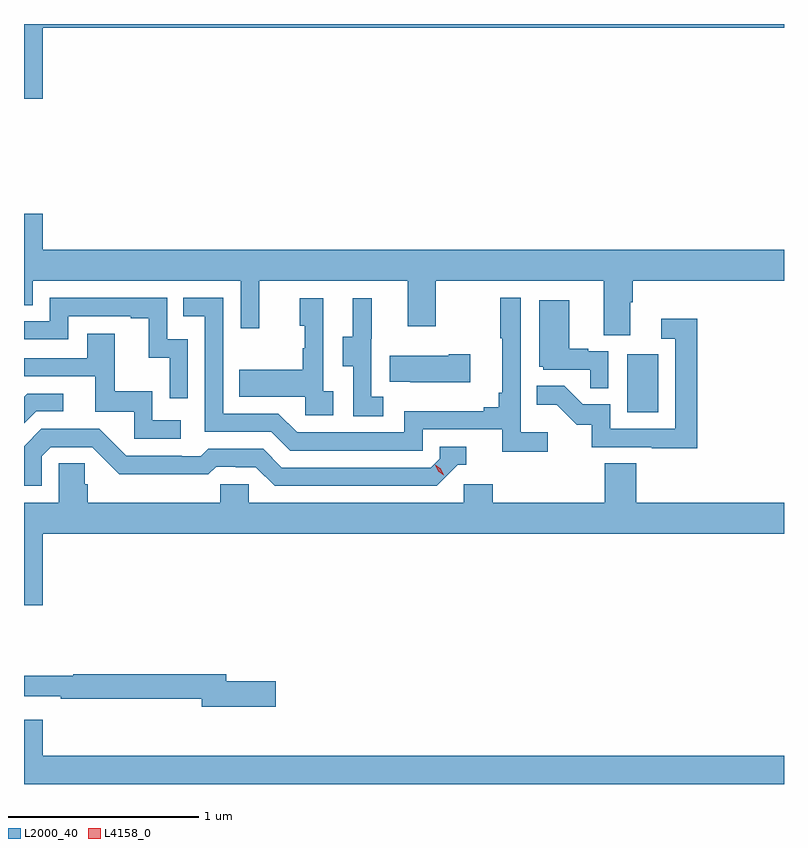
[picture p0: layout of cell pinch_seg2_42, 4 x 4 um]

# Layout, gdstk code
import gdstk
lib = gdstk.Library(unit=1e-6, precision=1e-09)
def R(c, l, rs):  # rectangles x0, y0, x1, y1
    for r in rs: c.add(gdstk.rectangle(r[:2], r[2:], *l))
def P(c, l, *ps):  # polygons
    for p in ps: c.add(gdstk.Polygon(p, *l))
L2000_40 = (2000, 40)
L4158_0 = (4158, 0)

pinch_seg2_42 = lib.new_cell('pinch_seg2_42')
R(pinch_seg2_42, L2000_40, [(1139.276,650.94,1139.44,651.247)])
P(pinch_seg2_42, L2000_40, [(1136.2,652.964),(1140.102,652.964),(1140.102,652.984),(1136.102,652.984),(1136.102,652.59),(1136.2,652.59)],
  [(1139.293,651.52),(1139.306,651.52),(1139.306,651.632),(1140.102,651.632),(1140.102,651.796),(1136.2,651.796),(1136.2,651.985),(1136.102,651.985),(1136.102,651.505),(1136.148,651.505),(1136.148,651.632),(1137.243,651.632),(1137.243,651.384),(1137.341,651.384),(1137.341,651.632),(1138.121,651.632),(1138.121,651.393),(1138.269,651.393),(1138.269,651.632),(1139.153,651.632),(1139.153,651.346),(1139.293,651.346)],
  [(1138.858,650.836),(1138.716,650.836),(1138.716,651.544),(1138.608,651.544),(1138.608,651.331),(1138.619,651.331),(1138.619,651.043),(1138.6,651.043),(1138.6,650.966),(1138.523,650.966),(1138.523,650.947),(1138.104,650.947),(1138.104,650.835),(1137.54,650.835),(1137.441,650.934),(1137.15,650.934),(1137.15,651.543),(1136.941,651.543),(1136.941,651.447),(1137.054,651.447),(1137.054,650.838),(1137.404,650.838),(1137.503,650.739),(1138.2,650.739),(1138.2,650.85),(1138.619,650.85),(1138.619,650.734),(1138.858,650.734)],
  [(1136.964,651.324),(1136.856,651.324),(1136.856,651.543),(1136.238,651.543),(1136.238,651.42),(1136.102,651.42),(1136.102,651.324),(1136.334,651.324),(1136.334,651.447),(1136.663,651.447),(1136.663,651.435),(1136.759,651.435),(1136.759,651.227),(1136.868,651.227),(1136.868,651.015),(1136.964,651.015)],
  [(1137.994,651.023),(1137.93,651.023),(1137.93,651.327),(1137.932,651.327),(1137.932,651.541),(1137.833,651.541),(1137.833,651.339),(1137.779,651.339),(1137.779,651.184),(1137.834,651.184),(1137.834,650.92),(1137.994,650.92)],
  [(1137.73,651.05),(1137.678,651.05),(1137.678,651.541),(1137.554,651.541),(1137.554,651.396),(1137.58,651.396),(1137.58,651.278),(1137.57,651.278),(1137.57,651.163),(1137.235,651.163),(1137.235,651.023),(1137.582,651.023),(1137.582,650.925),(1137.73,650.925)],
  [(1139.178,651.261),(1139.072,651.261),(1139.072,651.274),(1138.972,651.274),(1138.972,651.529),(1138.814,651.529),(1138.814,651.18),(1138.836,651.18),(1138.836,651.165),(1139.083,651.165),(1139.083,651.067),(1139.178,651.067)],
  [(1139.645,651.433),(1139.457,651.433),(1139.457,651.327),(1139.529,651.327),(1139.529,650.853),(1139.187,650.853),(1139.187,650.982),(1139.043,650.982),(1138.945,651.08),(1138.801,651.08),(1138.801,650.981),(1138.905,650.981),(1139.012,650.874),(1139.089,650.874),(1139.089,650.757),(1139.407,650.757),(1139.407,650.752),(1139.645,650.752)],
  [(1136.926,650.898),(1136.778,650.898),(1136.778,651.052),(1136.579,651.052),(1136.579,651.355),(1136.435,651.355),(1136.435,651.225),(1136.102,651.225),(1136.102,651.129),(1136.477,651.129),(1136.477,650.943),(1136.682,650.943),(1136.682,650.802),(1136.926,650.802)],
  [(1138.45,651.246),(1138.337,651.246),(1138.337,651.238),(1138.027,651.238),(1138.027,651.101),(1138.135,651.101),(1138.135,651.098),(1138.45,651.098)],
  [(1136.166,650.946),(1136.308,650.946),(1136.308,651.039),(1136.12,651.039),(1136.102,651.021),(1136.102,650.882)],
  [(1136.196,650.709),(1136.244,650.757),(1136.46,650.757),(1136.602,650.615),(1136.838,650.615),(1136.838,650.613),(1137.071,650.613),(1137.113,650.655),(1137.216,650.655),(1137.216,650.652),(1137.323,650.652),(1137.422,650.553),(1138.275,650.553),(1138.386,650.664),(1138.429,650.664),(1138.429,650.76),(1138.29,650.76),(1138.29,650.697),(1138.242,650.649),(1137.459,650.649),(1137.36,650.748),(1137.071,650.748),(1137.032,650.709),(1136.933,650.709),(1136.933,650.712),(1136.64,650.712),(1136.499,650.853),(1136.193,650.853),(1136.102,650.762),(1136.102,650.553),(1136.196,650.553)],
  [(1136.2,650.3),(1140.102,650.3),(1140.102,650.464),(1139.324,650.464),(1139.324,650.672),(1139.159,650.672),(1139.159,650.464),(1138.568,650.464),(1138.568,650.562),(1138.416,650.562),(1138.416,650.464),(1137.285,650.464),(1137.285,650.562),(1137.135,650.562),(1137.135,650.464),(1136.438,650.464),(1136.438,650.562),(1136.423,650.562),(1136.423,650.672),(1136.286,650.672),(1136.286,650.464),(1136.102,650.464),(1136.102,649.926),(1136.2,649.926)],
  [(1137.427,649.526),(1137.166,649.526),(1137.166,649.562),(1136.362,649.562),(1136.362,649.555),(1136.102,649.555),(1136.102,649.446),(1136.296,649.446),(1136.296,649.434),(1137.038,649.434),(1137.038,649.391),(1137.427,649.391)],
  [(1140.102,649.132),(1136.2,649.132),(1136.2,649.321),(1136.102,649.321),(1136.102,648.984),(1140.102,648.984)])
P(pinch_seg2_42, L4158_0, [(1138.312,650.61),(1138.281,650.63),(1138.266,650.662),(1138.266,650.663),(1138.266,650.663),(1138.296,650.643),(1138.312,650.61),(1138.312,650.61)])

lib.write_gds('pinch_seg2_42.gds')
